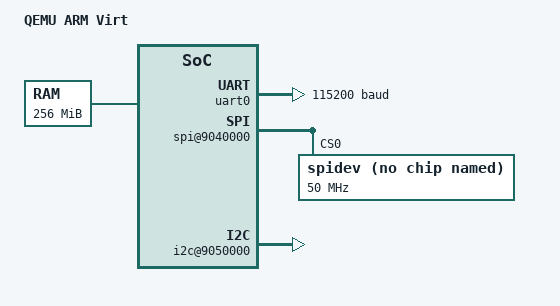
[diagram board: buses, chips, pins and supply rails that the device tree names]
/dts-v1/;

/ {
    model = "QEMU ARM Virt";
    compatible = "linux,dummy-virt";
    #address-cells = <2>;
    #size-cells = <2>;
    interrupt-parent = <&gic>;

    chosen {
        bootargs = "console=ttyAMA0";
    };

    memory@40000000 {
        device_type = "memory";
        reg = <0x00000000 0x40000000 0x00000000 0x10000000>; // 256MB
    };

    cpus {
        #address-cells = <1>;
        #size-cells = <0>;

        cpu@0 {
            device_type = "cpu";
            compatible = "arm,cortex-a7";
            reg = <0>;
        };
    };

    gic: interrupt-controller@8000000 {
        compatible = "arm,cortex-a7-gic";
        #interrupt-cells = <3>;
        interrupt-controller;
        reg = <0x0 0x08000000 0x0 0x1000>,
              <0x0 0x08010000 0x0 0x1000>;
    };

    uart0: serial@9000000 {
        compatible = "arm,pl011";
        reg = <0x0 0x09000000 0x0 0x1000>;
        interrupts = <0 1 4>; // SPI 1
        clock-frequency = <24000000>;
        current-speed = <115200>;
        status = "okay";
    };

    rtc@9010000 {
        compatible = "arm,pl031";
        reg = <0x0 0x09010000 0x0 0x1000>;
        interrupts = <0 2 4>;
    };

    gpio@9030000 {
        compatible = "arm,pl061";
        reg = <0x0 0x09030000 0x0 0x1000>;
        gpio-controller;
        #gpio-cells = <2>;
    };

    spi@9040000 {
        compatible = "arm,pl022";
        reg = <0x0 0x09040000 0x0 0x1000>;
        interrupts = <0 3 4>;
        #address-cells = <1>;
        #size-cells = <0>;
        status = "okay";

        spidev@0 {
            compatible = "rohm,dh2228fv";
            reg = <0>;
            spi-max-frequency = <50000000>;
        };
    };

    i2c@9050000 {
        compatible = "arm,versatile-i2c";
        reg = <0x0 0x09050000 0x0 0x1000>;
        interrupts = <0 4 4>;
        #address-cells = <1>;
        #size-cells = <0>;
        status = "okay";
    };

    virtio_net@a000000 {
        compatible = "virtio,mmio";
        reg = <0x0 0x0a000000 0x0 0x1000>;
        interrupts = <0 42 4>;
    };
};
